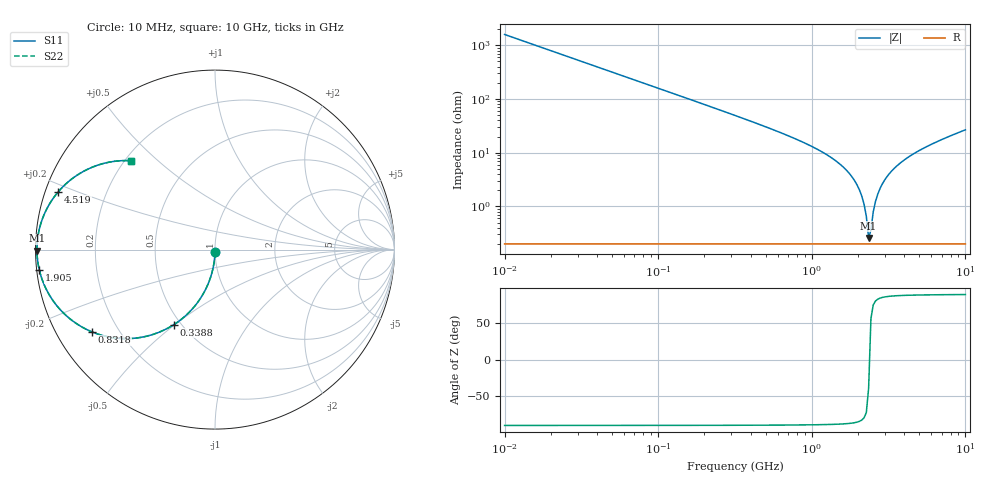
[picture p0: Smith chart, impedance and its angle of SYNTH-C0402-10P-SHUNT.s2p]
! Manufacturer: Synthetic (not a real part)
! Synthetic example generated by SmithChart.Online from an equivalent circuit.
! Not measured data and not a manufacturer file.
! Circuit: C 1e-11 F, ESL 4.5e-10 H, ESR 0.2 ohm in series
! Fixture: shunt-through
# MHZ S RI R 50
! f S11 S21 S12 S22
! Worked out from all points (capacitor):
!   201 points, 10 MHz to 10 GHz, reference 50 ohm
!   read as one part in shunt: C = 10 pF near 10.35 MHz
!   lowest |Z| = 257 mohm at 2.344 GHz (marker M1)
!   series resonance near 2.373 GHz, so ESL is about 450 pH
!   S11 on the Smith chart (normalised r, x): 10 MHz: 1.00, -0.03; 338.8 MHz: 0.46, -0.50; 831.8 MHz: 0.10, -0.30; 1.905 GHz: 0.01, -0.06; 4.519 GHz: 0.04, +0.18; 10 GHz: 0.22, +0.41
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10  -0.000249 -0.0157  0.9998 -0.0157  0.9998 -0.0157  -0.000249 -0.0157
32.35937  -0.0026 -0.0507  0.9974 -0.0507  0.9974 -0.0507  -0.0026 -0.0507
101.1579  -0.0249 -0.1552  0.9751 -0.1552  0.9751 -0.1552  -0.0249 -0.1552
194.9845  -0.0874 -0.2812  0.9126 -0.2812  0.9126 -0.2812  -0.0874 -0.2812
316.2278  -0.2046 -0.4014  0.7954 -0.4014  0.7954 -0.4014  -0.2046 -0.4014
338.8442  -0.2289 -0.418  0.7711 -0.418  0.7711 -0.418  -0.2289 -0.418
549.5409  -0.4545 -0.4943  0.5455 -0.4943  0.5455 -0.4943  -0.4545 -0.4943
831.7638  -0.6872 -0.4577  0.3128 -0.4577  0.3128 -0.4577  -0.6872 -0.4577
1023.293  -0.7921 -0.398  0.2079 -0.398  0.2079 -0.398  -0.7921 -0.398
1496.236  -0.9318 -0.2369  0.0682 -0.2369  0.0682 -0.2369  -0.9318 -0.2369
1905.461  -0.9785 -0.1151  0.0215 -0.1151  0.0215 -0.1151  -0.9785 -0.1151
2041.738  -0.9857 -0.0791  0.0143 -0.0791  0.0143 -0.0791  -0.9857 -0.0791
2187.762  -0.9902 -0.0428  0.00979 -0.0428  0.00979 -0.0428  -0.9902 -0.0428
2264.644  -0.9915 -0.0246  0.00855 -0.0246  0.00855 -0.0246  -0.9915 -0.0246
2344.229  -0.992 -0.00634  0.00798 -0.00634  0.00798 -0.00634  -0.992 -0.00634
2426.61  -0.9919 0.0119  0.00808 0.0119  0.00808 0.0119  -0.9919 0.0119
2511.886  -0.9911 0.0301  0.00885 0.0301  0.00885 0.0301  -0.9911 0.0301
2691.535  -0.9876 0.0665  0.0124 0.0665  0.0124 0.0665  -0.9876 0.0665
3198.895  -0.9669 0.1561  0.0331 0.1561  0.0331 0.1561  -0.9669 0.1561
4518.559  -0.8742 0.321  0.1258 0.321  0.1258 0.321  -0.8742 0.321
6839.116  -0.6815 0.46  0.3185 0.46  0.3185 0.46  -0.6815 0.46
10000  -0.4677 0.4952  0.5323 0.4952  0.5323 0.4952  -0.4677 0.4952
